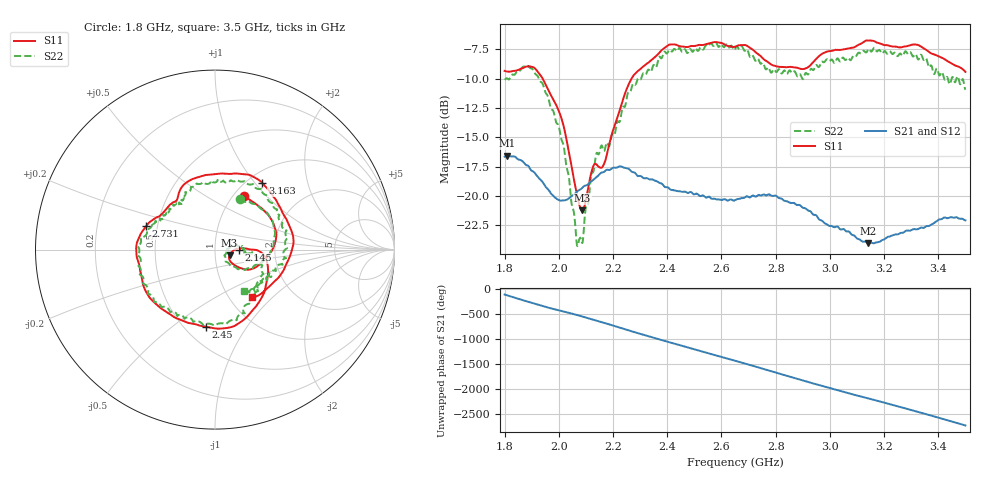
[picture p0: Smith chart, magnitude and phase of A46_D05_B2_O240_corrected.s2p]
! Created with skrf 1.9.0 (http://scikit-rf.org).
# Hz S RI R 50.0
!freq ReS11 ImS11 ReS21 ImS21 ReS12 ImS12 ReS22 ImS22
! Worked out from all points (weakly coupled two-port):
!   1601 points, 1.8 GHz to 3.5 GHz, reference 50 ohm
!   highest |S21| = -16.56 dB at 1.811 GHz (marker M1); lowest = -24.0 dB at 3.142 GHz (marker M2)
!   lowest |S11| = -21.2 dB at 2.087 GHz (marker M3), VSWR 1.19, Z = 58.7 - j3.76 ohm
!   |S11| at or under -10 dB: 1.94 GHz to 2.269 GHz (328.4 MHz wide, 15.6 % of centre)
!   |S22| runs from -24.3 to -7.0 dB; largest |S21 - S12| = 0.0024
!   S11 on the Smith chart (normalised r, x): 1.8 GHz: 1.11, +0.76; 2.145 GHz: 1.31, -0.00; 2.45 GHz: 0.63, -0.67; 2.731 GHz: 0.43, +0.14; 3.163 GHz: 1.16, +1.09; 3.5 GHz: 1.26, -0.76
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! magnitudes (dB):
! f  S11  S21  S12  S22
! 1.8 GHz  -9.4  -16.6  -16.6  -10.1
! 1.811 GHz  -9.4  -16.6  -16.6  -10.0
! 1.883 GHz  -9.0  -17.4  -17.4  -8.9
! 1.941 GHz  -10.0  -18.8  -18.8  -10.5
! 2.011 GHz  -13.5  -20.4  -20.4  -15.3
! 2.066 GHz  -19.7  -19.6  -19.6  -23.9
! 2.084 GHz  -21.2  -19.4  -19.3  -23.8
! 2.087 GHz  -21.2  -19.3  -19.3  -24.0
! 2.125 GHz  -17.6  -18.7  -18.7  -18.0
! 2.145 GHz  -17.5  -18.3  -18.2  -16.4
! 2.169 GHz  -17.2  -17.9  -17.9  -16.1
! 2.265 GHz  -10.1  -17.9  -17.8  -11.0
! 2.367 GHz  -7.9  -18.8  -18.8  -8.3
! 2.45 GHz  -7.3  -19.6  -19.6  -7.6
! 2.65 GHz  -7.3  -20.3  -20.3  -7.5
! 2.731 GHz  -7.8  -20.0  -20.0  -8.4
! 2.934 GHz  -8.7  -21.5  -21.4  -9.2
! 3.142 GHz  -6.8  -24.0  -23.9  -7.5
! 3.163 GHz  -6.8  -24.0  -24.0  -7.4
! 3.217 GHz  -7.2  -23.4  -23.4  -7.7
! 3.34 GHz  -7.3  -22.7  -22.6  -8.1
! 3.5 GHz  -9.4  -22.1  -22.0  -11.0
